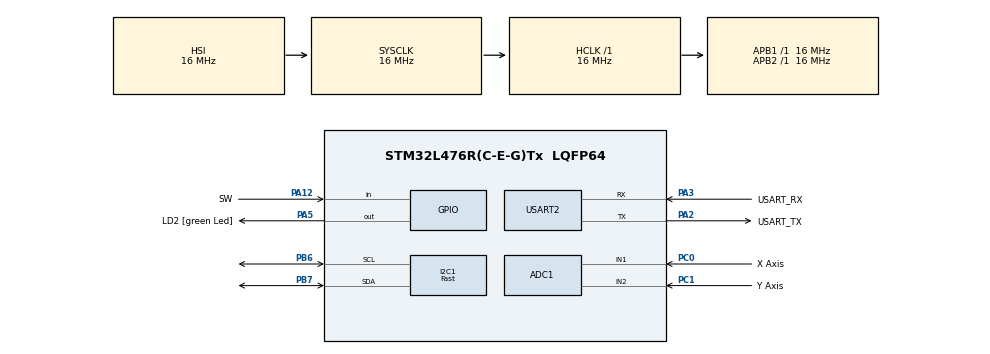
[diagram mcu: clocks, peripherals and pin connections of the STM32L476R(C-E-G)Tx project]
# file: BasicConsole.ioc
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ADC1.Channel-0\#ChannelRegularConversion=ADC_CHANNEL_1
ADC1.Channel-2\#ChannelRegularConversion=ADC_CHANNEL_2
ADC1.ClockPrescaler=ADC_CLOCK_ASYNC_DIV2
ADC1.NbrOfConversion=2
ADC1.NbrOfConversionFlag=1
ADC1.OffsetNumber-0\#ChannelRegularConversion=ADC_OFFSET_NONE
ADC1.OffsetNumber-2\#ChannelRegularConversion=ADC_OFFSET_NONE
ADC1.Rank-0\#ChannelRegularConversion=1
ADC1.Rank-2\#ChannelRegularConversion=2
ADC1.SamplingTime-0\#ChannelRegularConversion=ADC_SAMPLETIME_2CYCLES_5
ADC1.SamplingTime-2\#ChannelRegularConversion=ADC_SAMPLETIME_2CYCLES_5
ADC1.master=1
Dma.ADC1.1.Direction=DMA_PERIPH_TO_MEMORY
Dma.ADC1.1.Instance=DMA1_Channel1
Dma.ADC1.1.MemDataAlignment=DMA_MDATAALIGN_WORD
Dma.ADC1.1.MemInc=DMA_MINC_ENABLE
Dma.ADC1.1.Mode=DMA_NORMAL
Dma.ADC1.1.PeriphDataAlignment=DMA_PDATAALIGN_WORD
Dma.ADC1.1.PeriphInc=DMA_PINC_DISABLE
Dma.ADC1.1.Priority=DMA_PRIORITY_LOW
Dma.I2C1_TX.0.Direction=DMA_MEMORY_TO_PERIPH
Dma.I2C1_TX.0.Instance=DMA1_Channel6
Dma.I2C1_TX.0.MemDataAlignment=DMA_MDATAALIGN_BYTE
Dma.I2C1_TX.0.MemInc=DMA_MINC_ENABLE
Dma.I2C1_TX.0.Mode=DMA_NORMAL
Dma.I2C1_TX.0.PeriphDataAlignment=DMA_PDATAALIGN_BYTE
Dma.I2C1_TX.0.PeriphInc=DMA_PINC_DISABLE
Dma.I2C1_TX.0.Priority=DMA_PRIORITY_MEDIUM
Dma.Request0=I2C1_TX
Dma.Request1=ADC1
FREERTOS.Tasks01=defaultTask,24,128,StartDefaultTask,Default,NULL,Dynamic,NULL,NULL
FREERTOS.configTOTAL_HEAP_SIZE=15360
I2C1.I2C_Speed_Mode=I2C_Fast
I2C1.Timing=0x00000004
Mcu.Family=STM32L4
Mcu.Name=STM32L476R(C-E-G)Tx
Mcu.Package=LQFP64
NVIC.ADC1_2_IRQn=true\:5\:0\:false\:false\:true\:true\:true\:true\:true
NVIC.DMA1_Channel1_IRQn=true\:5\:0\:false\:false\:true\:true\:false\:true\:true
NVIC.DMA1_Channel6_IRQn=true\:5\:0\:false\:false\:true\:true\:false\:true\:true
NVIC.PriorityGroup=NVIC_PRIORITYGROUP_4
NVIC.TIM1_UP_TIM16_IRQn=true\:15\:0\:false\:false\:true\:false\:false\:true\:true
NVIC.TimeBase=TIM1_UP_TIM16_IRQn
NVIC.TimeBaseIP=TIM1
PA12.GPIO_Label=SW
PA12.GPIO_PuPd=GPIO_PULLUP
PA12.Signal=GPIO_Input
PA13\ (JTMS-SWDIO).GPIO_Label=TMS
PA13\ (JTMS-SWDIO).Mode=Serial_Wire
PA13\ (JTMS-SWDIO).Signal=SYS_JTMS-SWDIO
PA14\ (JTCK-SWCLK).GPIO_Label=TCK
PA14\ (JTCK-SWCLK).Mode=Serial_Wire
PA14\ (JTCK-SWCLK).Signal=SYS_JTCK-SWCLK
PA2.GPIO_Label=USART_TX
PA2.GPIO_Mode=GPIO_MODE_AF_PP
PA2.GPIO_PuPd=GPIO_NOPULL
PA2.GPIO_Speed=GPIO_SPEED_FREQ_VERY_HIGH
PA2.Mode=Asynchronous
PA2.Signal=USART2_TX
PA3.GPIO_Label=USART_RX
PA3.GPIO_Mode=GPIO_MODE_AF_PP
PA3.GPIO_PuPd=GPIO_NOPULL
PA3.GPIO_Speed=GPIO_SPEED_FREQ_VERY_HIGH
PA3.Mode=Asynchronous
PA3.Signal=USART2_RX
PA5.GPIO_Label=LD2 [green Led]
PA5.GPIO_ModeDefaultOutputPP=GPIO_MODE_OUTPUT_PP
PA5.GPIO_PuPd=GPIO_NOPULL
PA5.GPIO_Speed=GPIO_SPEED_FREQ_LOW
PA5.Signal=GPIO_Output
PB3\ (JTDO-TRACESWO).GPIO_Label=SWO
PB3\ (JTDO-TRACESWO).Signal=SYS_JTDO-SWO
PB6.Mode=I2C
PB6.Signal=I2C1_SCL
PB7.Mode=I2C
PB7.Signal=I2C1_SDA
PC0.GPIO_Label=X Axis
PC0.Signal=ADCx_IN1
PC1.GPIO_Label=Y Axis
PC1.Signal=ADCx_IN2
ProjectManager.HeapSize=0x200
ProjectManager.StackSize=0x400
ProjectManager.TargetToolchain=STM32CubeIDE
RCC.ADCFreq_Value=64000000
RCC.AHBFreq_Value=16000000
RCC.APB1Freq_Value=16000000
RCC.APB1TimFreq_Value=16000000
RCC.APB2Freq_Value=16000000
RCC.APB2TimFreq_Value=16000000
RCC.CortexFreq_Value=16000000
RCC.HCLKFreq_Value=16000000
RCC.HSE_VALUE=8000000
RCC.HSI_VALUE=16000000
RCC.LSE_VALUE=32768
RCC.MSI_VALUE=4000000
RCC.PLLSourceVirtual=RCC_PLLSOURCE_HSI
RCC.SYSCLKFreq_VALUE=16000000
RCC.SYSCLKSource=RCC_SYSCLKSOURCE_HSI
RCC.USBFreq_Value=64000000
RCC.VCOOutputFreq_Value=128000000
SH.ADCx_IN1.0=ADC1_IN1,IN1-Single-Ended
SH.ADCx_IN2.0=ADC1_IN2,IN2-Single-Ended
USART2.VirtualMode-Asynchronous=VM_ASYNC
VP_FREERTOS_VS_CMSIS_V2.Mode=CMSIS_V2
VP_SYS_VS_tim1.Mode=TIM1
board=NUCLEO-L476RG

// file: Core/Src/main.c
/* USER CODE BEGIN Header */
/**
  ******************************************************************************
  * @file           : main.c
  * @brief          : Main program body
  ******************************************************************************
  * @attention
  *
  * Copyright (c) 2025 STMicroelectronics.
  * All rights reserved.
  *
  * This software is licensed under terms that can be found in the LICENSE file
  * in the root directory of this software component.
  * If no LICENSE file comes with this software, it is provided AS-IS.
  *
  ******************************************************************************
  */
/* USER CODE END Header */
#include "main.h"
#include "cmsis_os.h"
#include "adc.h"
#include "dma.h"
#include "i2c.h"
#include "usart.h"
#include "gpio.h"

/* USER CODE BEGIN Includes */
#include <string.h>

#include "ssd1306.h"
/* USER CODE END Includes */

void SystemClock_Config(void);
void MX_FREERTOS_Init(void);

int main(void)
{

  /* MCU Configuration--------------------------------------------------------*/

  /* Reset of all peripherals, Initializes the Flash interface and the Systick. */
  HAL_Init();

  /* Configure the system clock */
  SystemClock_Config();

  /* Initialize all configured peripherals */
  MX_GPIO_Init();
  MX_DMA_Init();
  MX_USART2_UART_Init();
  MX_I2C1_Init();
  MX_ADC1_Init();
  /* USER CODE BEGIN 2 */
  char start_mssg[] = "\nBasic Console Project\n";
  HAL_UART_Transmit(&huart2,(uint8_t*)start_mssg , strlen(start_mssg), HAL_MAX_DELAY);

  /* USER CODE END 2 */

  /* Init scheduler */
  osKernelInitialize();

  /* Call init function for freertos objects (in freertos.c) */
  MX_FREERTOS_Init();

  /* Start scheduler */
  osKernelStart();

  /* We should never get here as control is now taken by the scheduler */
  /* Infinite loop */
  while (1)
  {

  }
}

void SystemClock_Config(void)
{
  RCC_OscInitTypeDef RCC_OscInitStruct = {0};
  RCC_ClkInitTypeDef RCC_ClkInitStruct = {0};

  /** Configure the main internal regulator output voltage
  */
  if (HAL_PWREx_ControlVoltageScaling(PWR_REGULATOR_VOLTAGE_SCALE1) != HAL_OK)
  {
    Error_Handler();
  }

  /** Initializes the RCC Oscillators according to the specified parameters
  * in the RCC_OscInitTypeDef structure.
  */
  RCC_OscInitStruct.OscillatorType = RCC_OSCILLATORTYPE_HSI;
  RCC_OscInitStruct.HSIState = RCC_HSI_ON;
  RCC_OscInitStruct.HSICalibrationValue = RCC_HSICALIBRATION_DEFAULT;
  RCC_OscInitStruct.PLL.PLLState = RCC_PLL_NONE;
  if (HAL_RCC_OscConfig(&RCC_OscInitStruct) != HAL_OK)
  {
    Error_Handler();
  }

  /** Initializes the CPU, AHB and APB buses clocks
  */
  RCC_ClkInitStruct.ClockType = RCC_CLOCKTYPE_HCLK|RCC_CLOCKTYPE_SYSCLK
                              |RCC_CLOCKTYPE_PCLK1|RCC_CLOCKTYPE_PCLK2;
  RCC_ClkInitStruct.SYSCLKSource = RCC_SYSCLKSOURCE_HSI;
  RCC_ClkInitStruct.AHBCLKDivider = RCC_SYSCLK_DIV1;
  RCC_ClkInitStruct.APB1CLKDivider = RCC_HCLK_DIV1;
  RCC_ClkInitStruct.APB2CLKDivider = RCC_HCLK_DIV1;

  if (HAL_RCC_ClockConfig(&RCC_ClkInitStruct, FLASH_LATENCY_0) != HAL_OK)
  {
    Error_Handler();
  }
}

void HAL_TIM_PeriodElapsedCallback(TIM_HandleTypeDef *htim)
{
  if (htim->Instance == TIM1) {
    HAL_IncTick();
  }
}

void Error_Handler(void)
{
  __disable_irq();
  while (1)
  {
  }
}

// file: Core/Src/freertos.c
/* USER CODE BEGIN Header */
/**
  ******************************************************************************
  * File Name          : freertos.c
  * Description        : Code for freertos applications
  ******************************************************************************
  * @attention
  *
  * Copyright (c) 2025 STMicroelectronics.
  * All rights reserved.
  *
  * This software is licensed under terms that can be found in the LICENSE file
  * in the root directory of this software component.
  * If no LICENSE file comes with this software, it is provided AS-IS.
  *
  ******************************************************************************
  */
/* USER CODE END Header */

#include "FreeRTOS.h"
#include "task.h"
#include "main.h"
#include "cmsis_os.h"

/* USER CODE BEGIN Includes */
#include "semphr.h"
#include "queue.h"

#include "OledTask.h"
#include "JoyStickTask.h"
#include "ButtonTask.h"
/* USER CODE END Includes */

/* USER CODE BEGIN Variables */

/*OLED Task Definitions*/
TaskHandle_t oledTaskHandle;

/*Button Task Definitions*/
TaskHandle_t buttonTaskHandle;

/*JoyStick Task Definitions*/
TaskHandle_t joyStickTaskHandle;

/*Mutex to sync Menu Index*/
SemaphoreHandle_t menuMutex;

/* USER CODE END Variables */
/* Definitions for defaultTask */
osThreadId_t defaultTaskHandle;
const osThreadAttr_t defaultTask_attributes = {
  .name = "defaultTask",
  .stack_size = 128 * 4,
  .priority = (osPriority_t) osPriorityNormal,
};

void StartDefaultTask(void *argument);

void MX_FREERTOS_Init(void); /* (MISRA C 2004 rule 8.1) */

void MX_FREERTOS_Init(void) {
  /* USER CODE BEGIN Init */
	BaseType_t status;
  /* USER CODE END Init */

  /* USER CODE BEGIN RTOS_SEMAPHORES */
  /* add semaphores, ... */
	menuMutex = xSemaphoreCreateMutex();
  /* USER CODE END RTOS_SEMAPHORES */

  /* Create the thread(s) */
  /* creation of defaultTask */
  defaultTaskHandle = osThreadNew(StartDefaultTask, NULL, &defaultTask_attributes);

  /* USER CODE BEGIN RTOS_THREADS */
  /* add threads, ... */
  status = xTaskCreate(oLedTask, "OLED", 4*STACK_SIZE, NULL, TASK_PRIORITY, &oledTaskHandle);

  if(status != pdPASS)
	  Error_Handler();

  status = xTaskCreate(joyStickTask, "JOYSTICK", STACK_SIZE, NULL, TASK_PRIORITY, &joyStickTaskHandle);

  if(status != pdPASS)
  	  Error_Handler();

  status = xTaskCreate(buttonTask, "BUTTON", STACK_SIZE, NULL, TASK_PRIORITY, &buttonTaskHandle);

  if(status != pdPASS)
  	  Error_Handler();

  /* USER CODE END RTOS_THREADS */

}

void StartDefaultTask(void *argument)
{
  for(;;)
  {
    osDelay(1);
  }
}
